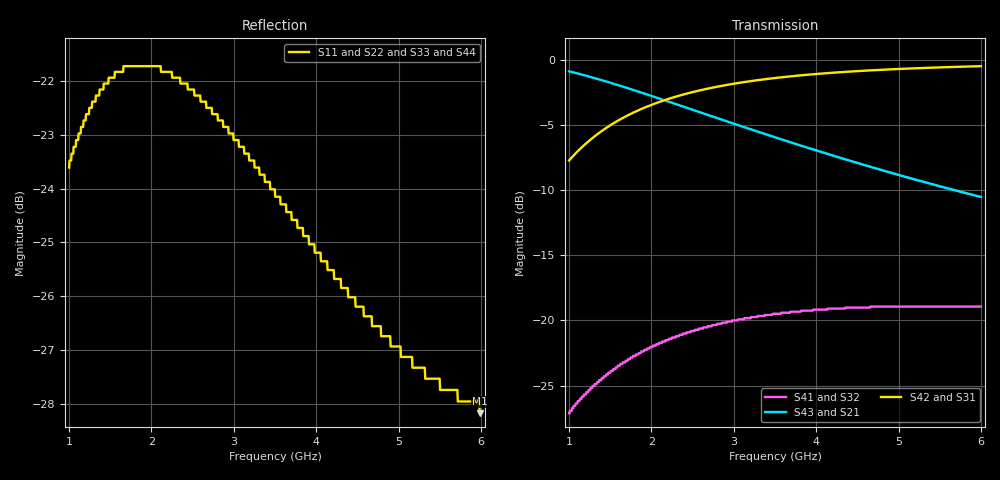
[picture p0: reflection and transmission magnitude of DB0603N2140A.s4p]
# MHZ S MA R 50
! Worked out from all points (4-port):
!   1000 points, 1 GHz to 6 GHz, reference 50 ohm
!   strongest paths, dB at 1 GHz, 2.251 GHz, 3.503 GHz, 4.754 GHz, 6 GHz:
!     S42: -7.7, -2.9, -1.4, -0.8, -0.5
!     S31: -7.7, -2.9, -1.4, -0.8, -0.5
!     S43: -0.9, -3.3, -6.0, -8.4, -10.5
!     S21: -0.9, -3.3, -6.0, -8.4, -10.5
!     S41: -27.1, -21.3, -19.5, -18.9, -18.9
!     S32: -27.1, -21.3, -19.5, -18.9, -18.9
!   lowest |S11| = -28.2 dB at 5.985 GHz (marker M1), VSWR 1.08, Z = 47.6 - j2.95 ohm
!   |S11| at or under -10 dB: start of sweep to end of sweep
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1000  0.066 -121.3  0.904 -22.2  0.411 67.4  0.044 25.0
      0.904 -22.2  0.066 -121.3  0.044 25.0  0.411 67.4
      0.411 67.4  0.044 25.0  0.066 -121.3  0.904 -22.2
      0.044 25.0  0.411 67.4  0.904 -22.2  0.066 -121.3
1305.305  0.076 -130.1  0.852 -27.9  0.508 61.7  0.056 9.5
          0.852 -27.9  0.076 -130.1  0.056 9.5  0.508 61.7
          0.508 61.7  0.056 9.5  0.076 -130.1  0.852 -27.9
          0.056 9.5  0.508 61.7  0.852 -27.9  0.076 -130.1
1685.686  0.082 -138.8  0.783 -34.0  0.606 55.6  0.07 -6.5
          0.783 -34.0  0.082 -138.8  0.07 -6.5  0.606 55.6
          0.606 55.6  0.07 -6.5  0.082 -138.8  0.783 -34.0
          0.07 -6.5  0.606 55.6  0.783 -34.0  0.082 -138.8
2761.762  0.074 -151.4  0.603 -46.9  0.785 42.8  0.096 -36.6
          0.603 -46.9  0.074 -151.4  0.096 -36.6  0.785 42.8
          0.785 42.8  0.096 -36.6  0.074 -151.4  0.603 -46.9
          0.096 -36.6  0.785 42.8  0.603 -46.9  0.074 -151.4
4208.208  0.053 -148.0  0.429 -57.4  0.893 32.6  0.111 -56.2
          0.429 -57.4  0.053 -148.0  0.111 -56.2  0.893 32.6
          0.893 32.6  0.111 -56.2  0.053 -148.0  0.429 -57.4
          0.111 -56.2  0.893 32.6  0.429 -57.4  0.053 -148.0
5984.985  0.039 -127.5  0.299 -65.1  0.946 25.4  0.113 -66.9
          0.299 -65.1  0.039 -127.5  0.113 -66.9  0.946 25.4
          0.946 25.4  0.113 -66.9  0.039 -127.5  0.299 -65.1
          0.113 -66.9  0.946 25.4  0.299 -65.1  0.039 -127.5
6000  0.039 -127.3  0.298 -65.2  0.946 25.4  0.113 -67.0
      0.298 -65.2  0.039 -127.3  0.113 -67.0  0.946 25.4
      0.946 25.4  0.113 -67.0  0.039 -127.3  0.298 -65.2
      0.113 -67.0  0.946 25.4  0.298 -65.2  0.039 -127.3
